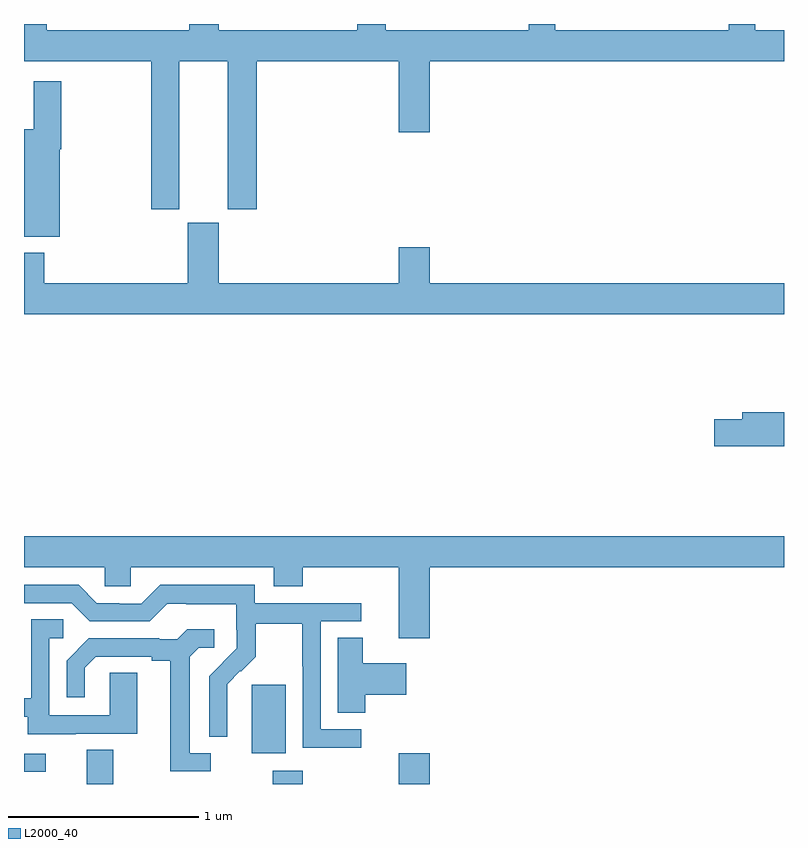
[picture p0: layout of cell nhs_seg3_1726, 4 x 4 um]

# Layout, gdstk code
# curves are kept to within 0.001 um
import gdstk
lib = gdstk.Library(unit=1e-6, precision=1e-09)
def R(c, l, rs):  # rectangles x0, y0, x1, y1
    for r in rs: c.add(gdstk.rectangle(r[:2], r[2:], *l))
def P(c, l, *ps):  # polygons
    for p in ps: c.add(gdstk.Polygon(p, *l))
L2000_40 = (2000, 40)

nhs_seg3_1726 = lib.new_cell('nhs_seg3_1726')
R(nhs_seg3_1726, L2000_40, [(199.331,742.4,199.471,742.58), (200.308,742.4,200.468,742.471), (200.972,742.4,201.136,742.561), (199,742.464,199.114,742.56), (200.198,742.562,200.377,742.923)])
P(nhs_seg3_1726, L2000_40, [(199.816,746.204),(200.072,746.204),(200.072,745.425),(200.225,745.425),(200.225,746.204),(200.972,746.204),(200.972,745.83),(201.136,745.83),(201.136,746.204),(203,746.204),(203,746.368),(202.849,746.368),(202.849,746.4),(202.709,746.4),(202.709,746.368),(201.795,746.368),(201.795,746.4),(201.657,746.4),(201.657,746.368),(200.905,746.368),(200.905,746.4),(200.753,746.4),(200.753,746.368),(200.024,746.368),(200.024,746.4),(199.871,746.4),(199.871,746.368),(199.119,746.368),(199.119,746.4),(199,746.4),(199,746.204),(199.669,746.204),(199.669,745.425),(199.816,745.425)],
  [(199.189,745.742),(199.197,745.742),(199.197,746.098),(199.052,746.098),(199.052,745.846),(199,745.846),(199,745.28),(199.189,745.28)],
  [(203,745.036),(201.136,745.036),(201.136,745.225),(200.972,745.225),(200.972,745.036),(200.026,745.036),(200.026,745.353),(199.862,745.353),(199.862,745.036),(199.106,745.036),(199.106,745.195),(199,745.195),(199,744.872),(203,744.872)],
  [(203,744.356),(202.781,744.356),(202.781,744.32),(202.632,744.32),(202.632,744.178),(203,744.178)],
  [(201.136,743.54),(203,743.54),(203,743.704),(199,743.704),(199,743.54),(199.425,743.54),(199.425,743.442),(199.563,743.442),(199.563,743.54),(200.315,743.54),(200.315,743.441),(200.468,743.441),(200.468,743.54),(200.972,743.54),(200.972,743.166),(201.136,743.166)],
  [(200.776,742.689),(200.562,742.689),(200.562,743.256),(200.776,743.256),(200.776,743.352),(200.214,743.352),(200.214,743.449),(199.717,743.449),(199.617,743.349),(199.502,743.349),(199.502,743.352),(199.383,743.352),(199.287,743.448),(199,743.448),(199,743.352),(199.251,743.352),(199.347,743.256),(199.662,743.256),(199.755,743.349),(199.855,743.349),(199.855,743.345),(200.118,743.345),(200.118,743.211),(200.12,743.211),(200.12,743.114),(199.974,742.966),(199.974,742.648),(200.07,742.648),(200.069,742.925),(200.139,742.995),(200.142,742.992),(200.219,743.069),(200.219,743.244),(200.464,743.244),(200.464,743.02),(200.466,743.02),(200.466,742.591),(200.776,742.591)],
  [(199.273,742.665),(199.597,742.665),(199.597,742.985),(199.452,742.985),(199.452,742.761),(199.134,742.761),(199.134,743.166),(199.207,743.166),(199.207,743.267),(199.038,743.267),(199.038,742.851),(199,742.851),(199,742.755),(199.019,742.755),(199.019,742.661),(199.273,742.661)],
  [(199.984,742.563),(199.873,742.563),(199.873,743.071),(199.92,743.118),(200.002,743.118),(200.002,743.215),(199.858,743.215),(199.806,743.163),(199.712,743.163),(199.712,743.166),(199.34,743.166),(199.224,743.05),(199.224,742.857),(199.321,742.857),(199.321,743.013),(199.378,743.07),(199.673,743.07),(199.673,743.048),(199.769,743.048),(199.769,742.467),(199.984,742.467)],
  [(200.795,742.87),(201.013,742.87),(201.013,743.035),(200.782,743.035),(200.782,743.171),(200.651,743.171),(200.651,742.774),(200.795,742.774)])

lib.write_gds('nhs_seg3_1726.gds')
